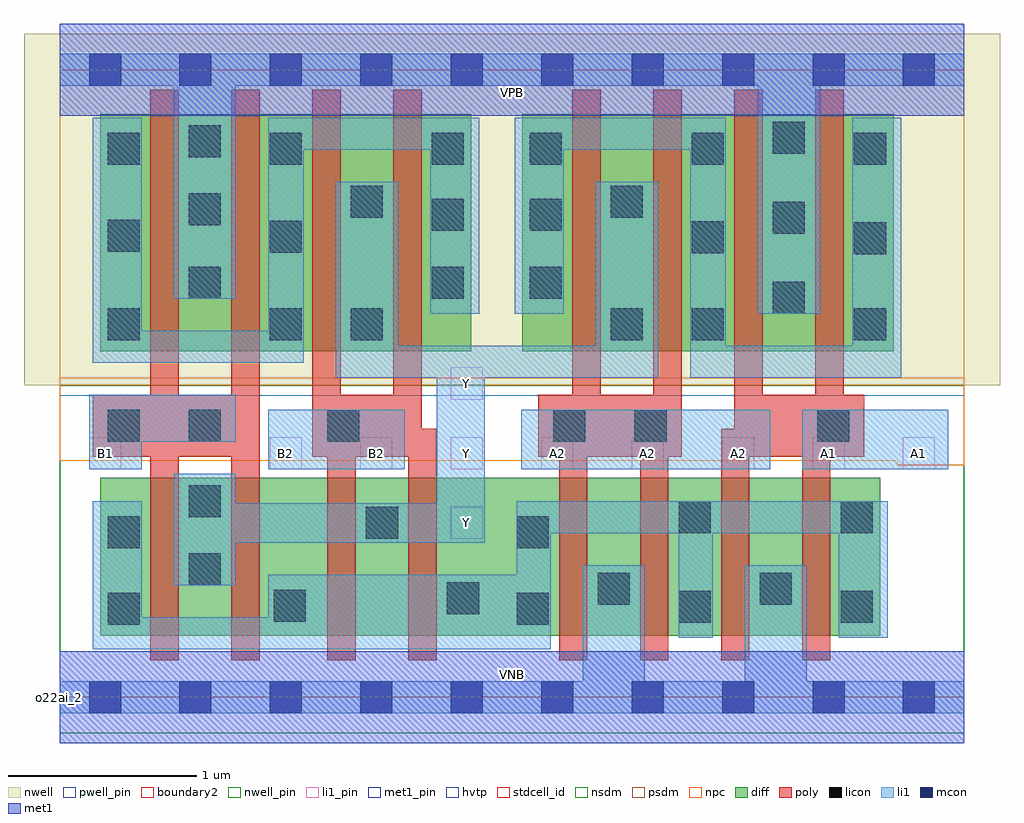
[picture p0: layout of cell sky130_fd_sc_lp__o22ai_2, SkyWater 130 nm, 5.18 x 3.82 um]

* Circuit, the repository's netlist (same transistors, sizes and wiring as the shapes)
* Copyright 2020 The SkyWater PDK Authors
*
* Licensed under the Apache License, Version 2.0 (the "License");
* you may not use this file except in compliance with the License.
* You may obtain a copy of the License at
*
*     https://www.apache.org/licenses/LICENSE-2.0
*
* Unless required by applicable law or agreed to in writing, software
* distributed under the License is distributed on an "AS IS" BASIS,
* WITHOUT WARRANTIES OR CONDITIONS OF ANY KIND, either express or implied.
* See the License for the specific language governing permissions and
* limitations under the License.
*
* SPDX-License-Identifier: Apache-2.0

.SUBCKT sky130_fd_sc_lp__o22ai_2 A1 A2 B1 B2 VGND VNB VPB VPWR Y
*.PININFO A1:I A2:I B1:I B2:I VGND:I VNB:I VPB:I VPWR:I Y:O
MMPA0 VPWR A1 sndA1 VPB sky130_fd_pr__pfet_01v8_hvt m=2 w=1.26U l=0.15U mult=1
+ sa=0.265 sb=0.265 sd=0.28 area=0.063 perim=1.14
MMPA1 sndA1 A2 Y VPB sky130_fd_pr__pfet_01v8_hvt m=2 w=1.26U l=0.15U mult=1 sa=0.265
+ sb=0.265 sd=0.28 area=0.063 perim=1.14
MMPB0 VPWR B1 sndB1 VPB sky130_fd_pr__pfet_01v8_hvt m=2 w=1.26U l=0.15U mult=1
+ sa=0.265 sb=0.265 sd=0.28 area=0.063 perim=1.14
MMPB1 sndB1 B2 Y VPB sky130_fd_pr__pfet_01v8_hvt m=2 w=1.26U l=0.15U mult=1 sa=0.265
+ sb=0.265 sd=0.28 area=0.063 perim=1.14
MMNA0 pndA A1 VGND VNB sky130_fd_pr__nfet_01v8 m=2 w=0.84U l=0.15U mult=1 sa=0.265
+ sb=0.265 sd=0.28 area=0.063 perim=1.14
MMNA1 pndA A2 VGND VNB sky130_fd_pr__nfet_01v8 m=2 w=0.84U l=0.15U mult=1 sa=0.265
+ sb=0.265 sd=0.28 area=0.063 perim=1.14
MMNB0 Y B1 pndA VNB sky130_fd_pr__nfet_01v8 m=2 w=0.84U l=0.15U mult=1 sa=0.265
+ sb=0.265 sd=0.28 area=0.063 perim=1.14
MMNB1 Y B2 pndA VNB sky130_fd_pr__nfet_01v8 m=2 w=0.84U l=0.15U mult=1 sa=0.265
+ sb=0.265 sd=0.28 area=0.063 perim=1.14
.ENDS sky130_fd_sc_lp__o22ai_2

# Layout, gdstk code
import gdstk
lib = gdstk.Library(unit=1e-6, precision=1e-09)
def R(c, l, rs):  # rectangles x0, y0, x1, y1
    for r in rs: c.add(gdstk.rectangle(r[:2], r[2:], *l))
def A(c, l, x, y, w, h, nx, ny, dx, dy):  # array of equal rectangles
    R(c, l, [(x+i*dx, y+j*dy, x+i*dx+w, y+j*dy+h) for i in range(nx) for j in range(ny)])
def P(c, l, *ps):  # polygons
    for p in ps: c.add(gdstk.Polygon(p, *l))
nwell_pin = (64, 16)
nwell = (64, 20)
diff = (65, 20)
poly = (66, 20)
licon = (66, 44)
li1_pin = (67, 16)
li1 = (67, 20)
mcon = (67, 44)
met1_pin = (68, 16)
met1 = (68, 20)
hvtp = (78, 44)
stdcell_id = (81, 4)
nsdm = (93, 44)
psdm = (94, 20)
npc = (95, 20)
pwell_pin = (122, 16)
boundary2 = (236, 0)

sky130_fd_sc_lp__o22ai_2 = lib.new_cell('sky130_fd_sc_lp__o22ai_2')
R(sky130_fd_sc_lp__o22ai_2, nwell_pin, [(0,3.085,4.8,3.33)])
R(sky130_fd_sc_lp__o22ai_2, nwell, [(-0.19,1.655,4.99,3.52)])
R(sky130_fd_sc_lp__o22ai_2, diff, [(0.215,0.325,4.355,1.165), (0.215,1.835,2.185,3.095), (2.455,1.835,4.425,3.095)])
P(sky130_fd_sc_lp__o22ai_2, poly, [(1.06,3.225),(0.91,3.225),(0.91,1.605),(0.63,1.605),(0.63,3.225),(0.48,3.225),(0.48,1.605),(0.175,1.605),(0.175,1.275),(0.48,1.275),(0.48,0.195),(0.63,0.195),(0.63,1.275),(0.91,1.275),(0.91,0.195),(1.06,0.195)],
  [(2,1.425),(1.92,1.425),(1.92,3.225),(1.77,3.225),(1.77,1.605),(1.49,1.605),(1.49,3.225),(1.34,3.225),(1.34,1.275),(1.42,1.275),(1.42,0.195),(1.57,0.195),(1.57,1.275),(1.85,1.275),(1.85,0.195),(2,0.195)],
  [(3.3,3.225),(3.15,3.225),(3.15,1.605),(2.87,1.605),(2.87,3.225),(2.72,3.225),(2.72,1.605),(2.54,1.605),(2.54,1.275),(2.65,1.275),(2.65,0.195),(2.8,0.195),(2.8,1.275),(3.08,1.275),(3.08,0.195),(3.23,0.195),(3.23,1.275),(3.3,1.275)],
  [(4.27,1.605),(4.16,1.605),(4.16,3.225),(4.01,3.225),(4.01,1.605),(3.73,1.605),(3.73,3.225),(3.58,3.225),(3.58,1.425),(3.51,1.425),(3.51,0.195),(3.66,0.195),(3.66,1.275),(3.94,1.275),(3.94,0.195),(4.09,0.195),(4.09,1.275),(4.27,1.275)])
A(sky130_fd_sc_lp__o22ai_2, licon, 3.785, 2.035, 0.17, 0.17, 1, 3, 0, 0.425)
A(sky130_fd_sc_lp__o22ai_2, licon, 0.255, 2.825, 0.17, 0.17, 3, 1, 0.86, 0)
A(sky130_fd_sc_lp__o22ai_2, licon, 2.495, 2.825, 0.17, 0.17, 3, 1, 0.86, 0)
R(sky130_fd_sc_lp__o22ai_2, licon, [(0.255,0.385,0.425,0.555), (2.425,0.385,2.595,0.555), (3.285,0.395,3.455,0.565), (4.145,0.395,4.315,0.565), (1.135,0.4,1.305,0.57), (2.055,0.44,2.225,0.61), (2.855,0.49,3.025,0.66), (3.715,0.49,3.885,0.66), (0.685,0.595,0.855,0.765), (0.255,0.79,0.425,0.96), (2.425,0.79,2.595,0.96), (1.625,0.84,1.795,1.01), (3.285,0.87,3.455,1.04), (4.145,0.87,4.315,1.04), (0.685,0.955,0.855,1.125), (0.255,1.355,0.425,1.525), (0.685,1.355,0.855,1.525), (1.42,1.355,1.59,1.525), (2.62,1.355,2.79,1.525), (3.05,1.355,3.22,1.525), (4.02,1.355,4.19,1.525), (0.255,1.895,0.425,2.065), (1.115,1.895,1.285,2.065), (1.545,1.895,1.715,2.065), (2.925,1.895,3.095,2.065), (3.355,1.895,3.525,2.065), (4.215,1.895,4.385,2.065), (0.685,2.115,0.855,2.285), (1.975,2.115,2.145,2.285), (2.495,2.115,2.665,2.285), (4.215,2.35,4.385,2.52), (3.355,2.355,3.525,2.525), (1.115,2.36,1.285,2.53), (0.255,2.365,0.425,2.535), (1.975,2.475,2.145,2.645), (2.495,2.475,2.665,2.645), (0.685,2.505,0.855,2.675), (1.545,2.545,1.715,2.715), (2.925,2.545,3.095,2.715), (0.685,2.865,0.855,3.035)])
A(sky130_fd_sc_lp__o22ai_2, li1_pin, 1.115, 1.21, 0.17, 0.17, 8, 1, 0.48, 0)
R(sky130_fd_sc_lp__o22ai_2, li1_pin, [(2.075,0.84,2.245,1.01), (0.155,1.21,0.325,1.38), (2.075,1.58,2.245,1.75)])
R(sky130_fd_sc_lp__o22ai_2, li1, [(1.105,1.21,1.83,1.525), (2.45,1.21,3.77,1.525), (3.94,1.21,4.715,1.525)])
P(sky130_fd_sc_lp__o22ai_2, li1, [(3.705,2.035),(3.705,3.245),(0.935,3.245),(0.935,2.115),(0.605,2.115),(0.605,3.245),(0,3.245),(0,3.415),(4.8,3.415),(4.8,3.245),(4.035,3.245),(4.035,2.035)],
  [(3.635,0.085),(3.635,0.7),(3.965,0.7),(3.965,0.085),(4.8,0.085),(4.8,-0.085),(0,-0.085),(0,0.085),(2.775,0.085),(2.775,0.7),(3.105,0.7),(3.105,0.085)],
  [(1.795,1.865),(2.845,1.865),(2.845,2.735),(3.175,2.735),(3.175,1.695),(2.255,1.695),(2.255,0.82),(0.935,0.82),(0.935,0.595),(0.605,0.595),(0.605,1.185),(0.935,1.185),(0.935,1.03),(2,1.03),(2,1.695),(1.465,1.695),(1.465,2.735),(1.795,2.735)],
  [(0.935,1.605),(0.155,1.605),(0.155,1.21),(0.435,1.21),(0.435,1.355),(0.935,1.355)],
  [(3.535,1.865),(4.205,1.865),(4.205,3.075),(4.465,3.075),(4.465,1.695),(3.345,1.695),(3.345,2.905),(2.675,2.905),(2.675,2.035),(2.415,2.035),(2.415,3.075),(3.535,3.075)],
  [(1.965,2.905),(1.295,2.905),(1.295,1.775),(0.175,1.775),(0.175,3.075),(0.435,3.075),(0.435,1.945),(1.105,1.945),(1.105,3.075),(2.225,3.075),(2.225,2.035),(1.965,2.035)],
  [(4.135,0.87),(3.465,0.87),(3.465,0.315),(3.285,0.315),(3.285,0.87),(2.605,0.87),(2.605,0.255),(0.175,0.255),(0.175,1.04),(0.435,1.04),(0.435,0.425),(1.105,0.425),(1.105,0.65),(2.425,0.65),(2.425,1.04),(4.395,1.04),(4.395,0.315),(4.135,0.315)])
A(sky130_fd_sc_lp__o22ai_2, mcon, 0.155, -0.085, 0.17, 0.17, 10, 2, 0.48, 3.33)
R(sky130_fd_sc_lp__o22ai_2, met1_pin, [(0,0,4.8,0.245), (0,3.085,4.8,3.33)])
R(sky130_fd_sc_lp__o22ai_2, met1, [(0,-0.245,4.8,0.245), (0,3.085,4.8,3.575)])
R(sky130_fd_sc_lp__o22ai_2, hvtp, [(0,1.6,4.8,3.33)])
R(sky130_fd_sc_lp__o22ai_2, stdcell_id, [(0,0,4.8,3.33)])
R(sky130_fd_sc_lp__o22ai_2, nsdm, [(0,-0.19,4.8,1.655)])
R(sky130_fd_sc_lp__o22ai_2, psdm, [(0,1.655,4.8,3.52)])
P(sky130_fd_sc_lp__o22ai_2, npc, [(4.8,1.695),(0,1.695),(0,1.255),(4.445,1.255),(4.445,1.23),(4.8,1.23)])
R(sky130_fd_sc_lp__o22ai_2, pwell_pin, [(0,0,4.8,0.245)])
R(sky130_fd_sc_lp__o22ai_2, boundary2, [(0,0,4.8,3.33)])
sky130_fd_sc_lp__o22ai_2.add(gdstk.Label('VNB', (2.4,0.123), layer=64, texttype=59))
sky130_fd_sc_lp__o22ai_2.add(gdstk.Label('VPB', (2.4,3.208), layer=64, texttype=5))
sky130_fd_sc_lp__o22ai_2.add(gdstk.Label('o22ai_2', (0,0), layer=83, texttype=44))
sky130_fd_sc_lp__o22ai_2.add(gdstk.Label('VPWR', (2.4,3.208), layer=68, texttype=5))
sky130_fd_sc_lp__o22ai_2.add(gdstk.Label('VGND', (2.4,0.123), layer=68, texttype=5))
sky130_fd_sc_lp__o22ai_2.add(gdstk.Label('Y', (2.16,0.925), layer=67, texttype=5))
sky130_fd_sc_lp__o22ai_2.add(gdstk.Label('Y', (2.16,1.295), layer=67, texttype=5))
sky130_fd_sc_lp__o22ai_2.add(gdstk.Label('Y', (2.16,1.665), layer=67, texttype=5))
sky130_fd_sc_lp__o22ai_2.add(gdstk.Label('A1', (4.08,1.295), layer=67, texttype=5))
sky130_fd_sc_lp__o22ai_2.add(gdstk.Label('A1', (4.56,1.295), layer=67, texttype=5))
sky130_fd_sc_lp__o22ai_2.add(gdstk.Label('A2', (2.64,1.295), layer=67, texttype=5))
sky130_fd_sc_lp__o22ai_2.add(gdstk.Label('A2', (3.12,1.295), layer=67, texttype=5))
sky130_fd_sc_lp__o22ai_2.add(gdstk.Label('A2', (3.6,1.295), layer=67, texttype=5))
sky130_fd_sc_lp__o22ai_2.add(gdstk.Label('B1', (0.24,1.295), layer=67, texttype=5))
sky130_fd_sc_lp__o22ai_2.add(gdstk.Label('B2', (1.2,1.295), layer=67, texttype=5))
sky130_fd_sc_lp__o22ai_2.add(gdstk.Label('B2', (1.68,1.295), layer=67, texttype=5))

lib.write_gds('sky130_fd_sc_lp__o22ai_2.gds')
